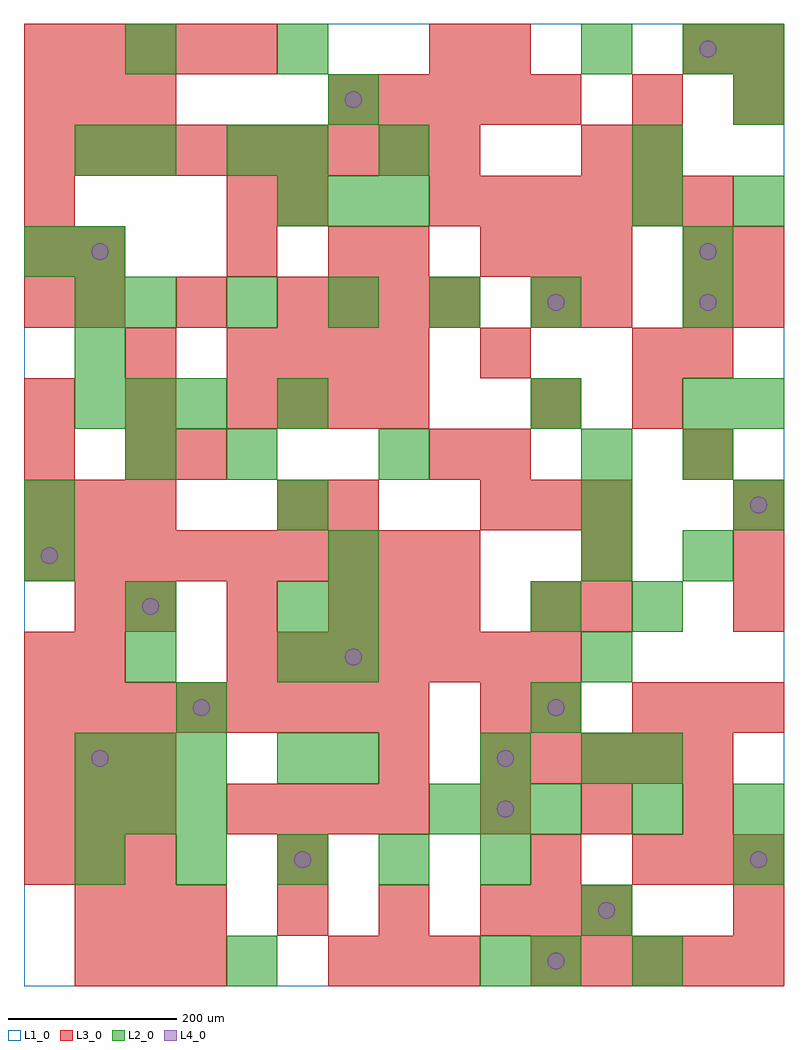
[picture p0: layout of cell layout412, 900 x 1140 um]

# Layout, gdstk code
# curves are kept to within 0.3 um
import gdstk
lib = gdstk.Library(unit=1e-6, precision=1e-09)
def R(c, l, rs):  # rectangles x0, y0, x1, y1
    for r in rs: c.add(gdstk.rectangle(r[:2], r[2:], *l))
def A(c, l, x, y, w, h, nx, ny, dx, dy):  # array of equal rectangles
    R(c, l, [(x+i*dx, y+j*dy, x+i*dx+w, y+j*dy+h) for i in range(nx) for j in range(ny)])
def P(c, l, *ps):  # polygons
    for p in ps: c.add(gdstk.Polygon(p, *l))
L1_0 = (1, 0)
L2_0 = (2, 0)
L3_0 = (3, 0)
L4_0 = (4, 0)

layout412 = lib.new_cell('layout412')
R(layout412, L1_0, [(0,0,900,1140)])
A(layout412, L2_0, 60, 120, 60, 60, 5, 1, 120, 0)
A(layout412, L2_0, 60, 180, 60, 60, 3, 2, 60, 60)
A(layout412, L2_0, 480, 180, 60, 60, 3, 1, 60, 0)
A(layout412, L2_0, 660, 240, 60, 60, 1, 3, 0, 120)
A(layout412, L2_0, 360, 360, 60, 60, 1, 3, 0, 60)
A(layout412, L2_0, 300, 420, 60, 60, 1, 3, 0, 120)
A(layout412, L2_0, 60, 660, 60, 60, 3, 1, 60, 0)
A(layout412, L2_0, 60, 720, 60, 60, 1, 3, 0, 60)
A(layout412, L2_0, 120, 780, 60, 60, 5, 1, 120, 0)
A(layout412, L2_0, 300, 900, 60, 60, 3, 1, 60, 0)
R(layout412, L2_0, [(240,0,300,60), (540,0,600,60), (600,0,660,60), (720,0,780,60), (660,60,720,120), (840,120,900,180), (720,180,780,240), (840,180,900,240), (300,240,360,300), (360,240,420,300), (540,240,600,300), (720,240,780,300), (180,300,240,360), (600,300,660,360), (120,360,180,420), (300,360,360,420), (120,420,180,480), (600,420,660,480), (720,420,780,480), (0,480,60,540), (780,480,840,540), (0,540,60,600), (660,540,720,600), (840,540,900,600), (120,600,180,660), (240,600,300,660), (420,600,480,660), (660,600,720,660), (780,600,840,660), (600,660,660,720), (780,660,840,720), (840,660,900,720), (780,780,840,840), (0,840,60,900), (780,840,840,900), (720,900,780,960), (840,900,900,960), (60,960,120,1020), (120,960,180,1020), (240,960,300,1020), (300,960,360,1020), (420,960,480,1020), (720,960,780,1020), (360,1020,420,1080), (840,1020,900,1080), (120,1080,180,1140), (300,1080,360,1140), (660,1080,720,1140), (780,1080,840,1140), (840,1080,900,1140)])
A(layout412, L3_0, 60, 0, 60, 60, 3, 2, 60, 60)
A(layout412, L3_0, 360, 0, 60, 60, 3, 2, 60, 780)
A(layout412, L3_0, 600, 0, 60, 60, 5, 1, 60, 0)
A(layout412, L3_0, 300, 60, 60, 60, 3, 1, 120, 0)
A(layout412, L3_0, 0, 120, 60, 60, 3, 3, 60, 60)
A(layout412, L3_0, 720, 120, 60, 60, 3, 2, 60, 180)
A(layout412, L3_0, 240, 180, 60, 60, 4, 2, 60, 540)
A(layout412, L3_0, 540, 180, 60, 60, 3, 1, 120, 0)
A(layout412, L3_0, 540, 240, 60, 60, 5, 1, 60, 0)
A(layout412, L3_0, 0, 300, 60, 60, 8, 1, 60, 0)
A(layout412, L3_0, 240, 360, 60, 60, 7, 1, 60, 0)
A(layout412, L3_0, 120, 420, 60, 60, 3, 1, 120, 0)
A(layout412, L3_0, 840, 420, 60, 60, 1, 3, 0, 60)
A(layout412, L3_0, 0, 480, 60, 60, 9, 2, 60, 480)
A(layout412, L3_0, 0, 540, 60, 60, 3, 2, 60, 480)
A(layout412, L3_0, 540, 540, 60, 60, 3, 2, 60, 300)
A(layout412, L3_0, 0, 660, 60, 60, 3, 1, 120, 0)
A(layout412, L3_0, 300, 660, 60, 60, 3, 1, 60, 0)
A(layout412, L3_0, 780, 720, 60, 60, 1, 3, 0, 60)
A(layout412, L3_0, 0, 780, 60, 60, 1, 3, 0, 60)
A(layout412, L3_0, 60, 780, 60, 60, 3, 1, 120, 0)
A(layout412, L3_0, 480, 900, 60, 60, 6, 1, 60, 0)
A(layout412, L3_0, 360, 1020, 60, 60, 5, 1, 60, 0)
A(layout412, L3_0, 0, 1080, 60, 60, 5, 1, 60, 0)
R(layout412, L3_0, [(600,60,660,120), (660,60,720,120), (840,60,900,120), (300,120,360,180), (600,120,660,180), (420,240,480,300), (540,300,600,360), (600,300,660,360), (0,360,60,420), (60,360,120,420), (60,420,120,480), (420,420,480,480), (480,420,540,480), (600,420,660,480), (660,420,720,480), (660,480,720,540), (300,540,360,600), (360,540,420,600), (0,600,60,660), (120,600,180,660), (180,600,240,660), (480,600,540,660), (540,600,600,660), (780,600,840,660), (600,660,660,720), (720,660,780,720), (120,720,180,780), (540,720,600,780), (720,720,780,780), (600,780,660,840), (660,780,720,840), (840,780,900,840), (60,840,120,900), (240,840,300,900), (360,840,420,900), (420,840,480,900), (840,840,900,900), (240,900,300,960), (300,900,360,960), (660,960,720,1020), (720,960,780,1020), (720,1020,780,1080), (840,1020,900,1080), (480,1080,540,1140), (540,1080,600,1140), (780,1080,840,1140), (840,1080,900,1140)])
P(layout412, L4_0, [(40,510),(39.239,513.827),(37.071,517.071),(33.827,519.239),(30,520),(26.173,519.239),(22.929,517.071),(20.761,513.827),(20,510),(20.761,506.173),(22.929,502.929),(26.173,500.761),(30,500),(33.827,500.761),(37.071,502.929),(39.239,506.173)],
  [(100,270),(99.239,273.827),(97.071,277.071),(93.827,279.239),(90,280),(86.173,279.239),(82.929,277.071),(80.761,273.827),(80,270),(80.761,266.173),(82.929,262.929),(86.173,260.761),(90,260),(93.827,260.761),(97.071,262.929),(99.239,266.173)],
  [(100,870),(99.239,873.827),(97.071,877.071),(93.827,879.239),(90,880),(86.173,879.239),(82.929,877.071),(80.761,873.827),(80,870),(80.761,866.173),(82.929,862.929),(86.173,860.761),(90,860),(93.827,860.761),(97.071,862.929),(99.239,866.173)],
  [(160,450),(159.239,453.827),(157.071,457.071),(153.827,459.239),(150,460),(146.173,459.239),(142.929,457.071),(140.761,453.827),(140,450),(140.761,446.173),(142.929,442.929),(146.173,440.761),(150,440),(153.827,440.761),(157.071,442.929),(159.239,446.173)],
  [(220,330),(219.239,333.827),(217.071,337.071),(213.827,339.239),(210,340),(206.173,339.239),(202.929,337.071),(200.761,333.827),(200,330),(200.761,326.173),(202.929,322.929),(206.173,320.761),(210,320),(213.827,320.761),(217.071,322.929),(219.239,326.173)],
  [(340,150),(339.239,153.827),(337.071,157.071),(333.827,159.239),(330,160),(326.173,159.239),(322.929,157.071),(320.761,153.827),(320,150),(320.761,146.173),(322.929,142.929),(326.173,140.761),(330,140),(333.827,140.761),(337.071,142.929),(339.239,146.173)],
  [(400,390),(399.239,393.827),(397.071,397.071),(393.827,399.239),(390,400),(386.173,399.239),(382.929,397.071),(380.761,393.827),(380,390),(380.761,386.173),(382.929,382.929),(386.173,380.761),(390,380),(393.827,380.761),(397.071,382.929),(399.239,386.173)],
  [(400,1050),(399.239,1053.827),(397.071,1057.071),(393.827,1059.239),(390,1060),(386.173,1059.239),(382.929,1057.071),(380.761,1053.827),(380,1050),(380.761,1046.173),(382.929,1042.929),(386.173,1040.761),(390,1040),(393.827,1040.761),(397.071,1042.929),(399.239,1046.173)],
  [(580,210),(579.239,213.827),(577.071,217.071),(573.827,219.239),(570,220),(566.173,219.239),(562.929,217.071),(560.761,213.827),(560,210),(560.761,206.173),(562.929,202.929),(566.173,200.761),(570,200),(573.827,200.761),(577.071,202.929),(579.239,206.173)],
  [(580,270),(579.239,273.827),(577.071,277.071),(573.827,279.239),(570,280),(566.173,279.239),(562.929,277.071),(560.761,273.827),(560,270),(560.761,266.173),(562.929,262.929),(566.173,260.761),(570,260),(573.827,260.761),(577.071,262.929),(579.239,266.173)],
  [(640,30),(639.239,33.827),(637.071,37.071),(633.827,39.239),(630,40),(626.173,39.239),(622.929,37.071),(620.761,33.827),(620,30),(620.761,26.173),(622.929,22.929),(626.173,20.761),(630,20),(633.827,20.761),(637.071,22.929),(639.239,26.173)],
  [(640,330),(639.239,333.827),(637.071,337.071),(633.827,339.239),(630,340),(626.173,339.239),(622.929,337.071),(620.761,333.827),(620,330),(620.761,326.173),(622.929,322.929),(626.173,320.761),(630,320),(633.827,320.761),(637.071,322.929),(639.239,326.173)],
  [(640,810),(639.239,813.827),(637.071,817.071),(633.827,819.239),(630,820),(626.173,819.239),(622.929,817.071),(620.761,813.827),(620,810),(620.761,806.173),(622.929,802.929),(626.173,800.761),(630,800),(633.827,800.761),(637.071,802.929),(639.239,806.173)],
  [(700,90),(699.239,93.827),(697.071,97.071),(693.827,99.239),(690,100),(686.173,99.239),(682.929,97.071),(680.761,93.827),(680,90),(680.761,86.173),(682.929,82.929),(686.173,80.761),(690,80),(693.827,80.761),(697.071,82.929),(699.239,86.173)],
  [(820,810),(819.239,813.827),(817.071,817.071),(813.827,819.239),(810,820),(806.173,819.239),(802.929,817.071),(800.761,813.827),(800,810),(800.761,806.173),(802.929,802.929),(806.173,800.761),(810,800),(813.827,800.761),(817.071,802.929),(819.239,806.173)],
  [(820,870),(819.239,873.827),(817.071,877.071),(813.827,879.239),(810,880),(806.173,879.239),(802.929,877.071),(800.761,873.827),(800,870),(800.761,866.173),(802.929,862.929),(806.173,860.761),(810,860),(813.827,860.761),(817.071,862.929),(819.239,866.173)],
  [(820,1110),(819.239,1113.827),(817.071,1117.071),(813.827,1119.239),(810,1120),(806.173,1119.239),(802.929,1117.071),(800.761,1113.827),(800,1110),(800.761,1106.173),(802.929,1102.929),(806.173,1100.761),(810,1100),(813.827,1100.761),(817.071,1102.929),(819.239,1106.173)],
  [(880,150),(879.239,153.827),(877.071,157.071),(873.827,159.239),(870,160),(866.173,159.239),(862.929,157.071),(860.761,153.827),(860,150),(860.761,146.173),(862.929,142.929),(866.173,140.761),(870,140),(873.827,140.761),(877.071,142.929),(879.239,146.173)],
  [(880,570),(879.239,573.827),(877.071,577.071),(873.827,579.239),(870,580),(866.173,579.239),(862.929,577.071),(860.761,573.827),(860,570),(860.761,566.173),(862.929,562.929),(866.173,560.761),(870,560),(873.827,560.761),(877.071,562.929),(879.239,566.173)])

lib.write_gds('layout412.gds')
